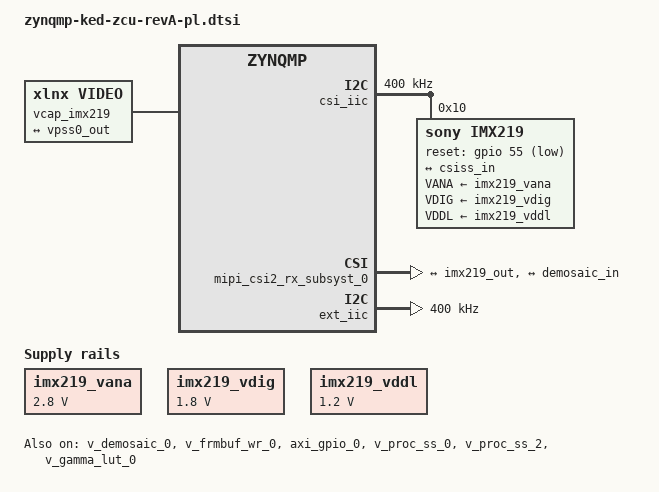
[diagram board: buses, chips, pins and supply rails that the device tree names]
/*
 * system-user.dtsi - IMX219 camera pipeline for Zynq UltraScale+
 *
 * Versione self-contained per PL:
 *   i nodi AXI/I2C/video sono dichiarati direttamente dentro &amba_pl,
 *   quindi non servono frammenti tipo &axi_gpio_0 / &v_demosaic_0 già definiti dal DTG.
 *
 * Hardware source:
 *   - system.mss
 *   - ZCU-DM-X1-R0(1).tcl, Vivado 2022.2
 *
 * Pipeline:
 *   IMX219 RAW10, 2 MIPI lanes
 *      -> MIPI CSI-2 RX Subsystem
 *      -> Sensor Demosaic
 *      -> VPSS CSC-only (white balance / brightness / contrast, dominio lineare)
 *      -> Gamma LUT (3x LUT R/G/B programmabili)
 *      -> VPSS Scaler+CSC (runtime: YUV422 1080p per display DP,
 *                           oppure RGB 640x640 per NPU DX-M1)
 *      -> Frame Buffer Write 0 -> DDR   (canale singolo, modo programmabile)
 *
 * Vivado addresses / IRQs:
 *   csi_iic                  @ 0x80010000, IRQ 92
 *   mipi_csi2_rx_subsyst_0   @ 0x80020000, IRQ 89
 *   v_demosaic_0             @ 0x80030000, IRQ 90
 *   v_frmbuf_wr_0            @ 0x80040000, IRQ 91
 *   ext_iic                  @ 0x80050000, IRQ 93
 *   v_gamma_lut_0            @ 0x80080000, IRQ 94
 *   axi_gpio_0               @ 0x80060000
 *   v_proc_ss_0              @ 0x80100000
 *   v_proc_ss_2              @ 0x80300000           (CSC only, white balance)
 *
 * Clocking from TCL:
 *   PL0 = zynqmp_clk 71 = 150 MHz, used for AXI-Lite and video clocks
 *   PL1 = zynqmp_clk 72 = 200 MHz, used in HW for MIPI D-PHY clock
 *
 * Reset GPIOs from TCL:
 *   axi_gpio_0 bit 0 -> v_demosaic_0 resetn combiner
 *   axi_gpio_0 bit 1 -> v_proc_ss_0 resetn combiner
 *   axi_gpio_0 bit 2 -> v_frmbuf_wr_0 resetn combiner
 *   axi_gpio_0 bit 3 -> mipi csi2 rx video_aresetn
 *   axi_gpio_0 bit 6 -> v_proc_ss_2 (CSC) resetn combiner
 *   axi_gpio_0 bit 7 -> v_gamma_lut_0 resetn combiner
 *
 * Hardware reset equation:
 *   ip_resetn = peripheral_aresetn AND gpio_resetn
 */

#include <dt-bindings/gpio/gpio.h>

/ {
	/* IMX219 external clock. Use 24 MHz unless the board has a different XCLK. */
	imx219_xclk: imx219-xclk {
		compatible = "fixed-clock";
		#clock-cells = <0>;
		clock-frequency = <24000000>;
	};

	/* Fixed regulators are valid if the camera rails are always enabled on the board. */
	imx219_vana: regulator-imx219-vana {
		compatible = "regulator-fixed";
		regulator-name = "imx219_vana_2v8";
		regulator-min-microvolt = <2800000>;
		regulator-max-microvolt = <2800000>;
	};

	imx219_vdig: regulator-imx219-vdig {
		compatible = "regulator-fixed";
		regulator-name = "imx219_vdig_1v8";
		regulator-min-microvolt = <1800000>;
		regulator-max-microvolt = <1800000>;
	};

	imx219_vddl: regulator-imx219-vddl {
		compatible = "regulator-fixed";
		regulator-name = "imx219_vddl_1v2";
		regulator-min-microvolt = <1200000>;
		regulator-max-microvolt = <1200000>;
	};
};

/ {
	amba_pl: amba_pl@0 {
		#address-cells = <2>;
		#size-cells = <2>;
		compatible = "simple-bus";
		ranges ;
				
		AXI_DNA_0: AXI_DNA@80000000 {
			/* This is a place holder node for a custom IP, user may need to update the entries */
			clock-names = "s00_axi_aclk";
			clocks = <&zynqmp_clk 71>;
			compatible = "xlnx,AXI-DNA-1.0";
			reg = <0x0 0x80000000 0x0 0x10000>;
			xlnx,s00-axi-addr-width = <0x4>;
			xlnx,s00-axi-data-width = <0x20>;
		};
		
		/* Camera control I2C bus: csi_iic @ 0x80010000, 400 kHz. */
		csi_iic: i2c@80010000 {
			status = "okay";
			compatible = "xlnx,axi-iic-2.1", "xlnx,xps-iic-2.00.a";
			reg = <0x0 0x80010000 0x0 0x10000>;
			interrupt-parent = <&gic>;
			interrupts = <0 92 4>;
			interrupt-names = "iic2intc_irpt";
			clock-names = "s_axi_aclk";
			clocks = <&zynqmp_clk 71>;
			#address-cells = <1>;
			#size-cells = <0>;
			clock-frequency = <400000>;

			imx219: camera@10 {
				compatible = "sony,imx219";
				reg = <0x10>;

				clocks = <&imx219_xclk>;

				VANA-supply = <&imx219_vana>;
				VDIG-supply = <&imx219_vdig>;
				VDDL-supply = <&imx219_vddl>;

				/*
				 * MIO55 controls the camera PWDN pin.
				 * For a standard active-high PWDN signal:
				 *   physical 1 = power-down / disabled
				 *   physical 0 = enabled
				 */
				reset-gpios = <&gpio 55 GPIO_ACTIVE_LOW>;
	
				port {
					imx219_out: endpoint {
						remote-endpoint = <&csiss_in>;
						data-lanes = <1 2>;
						clock-noncontinuous;
						link-frequencies = /bits/ 64 <456000000>;
					};
				};
			};
		};

		/* MIPI CSI-2 RX Subsystem.
		 * Vivado IP: v5.2, RAW10, 2 lanes, active lanes enabled, VFB enabled.
		 * Linux binding compatible commonly used for this IP generation is v5.0.
		 */
		mipi_csi2_rx_subsyst_0: csi2rx@80020000 {
			status = "okay";
			compatible = "xlnx,mipi-csi2-rx-subsystem-5.0";
			reg = <0x0 0x80020000 0x0 0x2000>;
			interrupt-parent = <&gic>;
			interrupts = <0 89 4>;
			interrupt-names = "csirxss_csi_irq";

			clock-names = "lite_aclk", "video_aclk";
			clocks = <&zynqmp_clk 71>, <&zynqmp_clk 71>;

			xlnx,csi-pxl-format = <0x2b>; /* RAW10 */
			xlnx,vfb;
			xlnx,en-active-lanes;

			ports {
				#address-cells = <1>;
				#size-cells = <0>;

				port@0 {
					reg = <0>;
					csiss_in: endpoint {
						remote-endpoint = <&imx219_out>;
						data-lanes = <1 2>;
					};
				};

				port@1 {
					reg = <1>;
					csiss_out: endpoint {
						remote-endpoint = <&demosaic_in>;
					};
				};
			};
		};

		/* Sensor Demosaic: Bayer RAW10 input to RGB output. */
		v_demosaic_0: demosaic@80030000 {
			status = "okay";
			compatible = "xlnx,v-demosaic-1.1", "xlnx,v-demosaic";
			reg = <0x0 0x80030000 0x0 0x10000>;
			clock-names = "ap_clk";
			clocks = <&zynqmp_clk 71>;
			interrupt-parent = <&gic>;
			interrupts = <0 90 4>;
			interrupt-names = "interrupt";

			reset-gpios = <&axi_gpio_0 0 GPIO_ACTIVE_LOW>;

			/* The TCL does not export max image size. Keep this coherent with 150 MHz / 1 PPC. */
			xlnx,max-width = <1920>;
			xlnx,max-height = <1080>;

			ports {
				#address-cells = <1>;
				#size-cells = <0>;

				port@0 {
					reg = <0>;
					demosaic_in: endpoint {
						remote-endpoint = <&csiss_out>;
					};
				};

				port@1 {
					reg = <1>;
					demosaic_out: endpoint {
						remote-endpoint = <&csc_in>;
					};
				};
			};
		};

		/* Video Frame Buffer Write.
		 * Vivado IP: v2.4. Linux compatible for this generation is axi-frmbuf-wr-v2.2.
		 * TCL: SAMPLES_PER_CLOCK=1, MAX_DATA_WIDTH=10.
		 */
		v_frmbuf_wr_0: dma@80040000 {
			status = "okay";
			compatible = "xlnx,axi-frmbuf-wr-v2.2";
			#dma-cells = <1>;
			reg = <0x0 0x80040000 0x0 0x10000>;
			clock-names = "ap_clk";
			clocks = <&zynqmp_clk 71>;
			interrupt-parent = <&gic>;
			interrupts = <0 91 4>;
			interrupt-names = "interrupt";

			reset-gpios = <&axi_gpio_0 2 GPIO_ACTIVE_LOW>;

			/* Il master AXI del frmbuf e' cablato (TCL: axi_smc/M00_AXI)
			 * su S_AXI_HPC0_FPD, cioe' la porta COERENTE via CCI-400.
			 * Senza questa proprieta' Linux tratta il device come non
			 * coerente e vb2-dma-contig alloca i buffer NON CACHEABLE:
			 * la CPU li legge a ~4 MB/s (misurato: videoconvert 3,5 fps
			 * contro 90 fps su memoria normale). Con dma-coherent i
			 * buffer diventano cacheable e la coerenza la garantisce CCI.
			 *
			 * ATTENZIONE: richiede che la coerenza sia realmente attiva
			 * in HW (CCI snooping abilitato + AxCACHE/AxDOMAIN corretti
			 * dal master). Se non lo fosse, la CPU leggerebbe dati stantii
			 * dalla cache -> immagine corrotta/tearing. Verificare.
			 */
			dma-coherent;

			xlnx,dma-addr-width = <32>;
			/* ATTENZIONE: nel driver xilinx_frmbuf.c i nomi DTS sono
			 * INVERTITI rispetto al fourcc V4L2 che espongono. Tabella
			 * (nome DTS -> CONFIG richiesto nel TCL -> fourcc V4L2):
			 *   "rgb888"      -> HAS_BGR8       -> BGR3
			 *   "bgr888"      -> HAS_RGB8       -> RGB3   (dxpreprocess)
			 *   "xrgb8888"    -> HAS_BGRX8      -> XBGR32
			 *   "xbgr8888"    -> HAS_RGBX8      -> BGRX32
			 *   "xbgr2101010" -> HAS_RGBX10     -> XBGR30
			 *   "uyvy"        -> HAS_UYVY8      -> UYVY
			 *   "yuyv"        -> HAS_YUYV8      -> YUYV
			 *   "vuy888"      -> HAS_YUV8       -> VUY24
			 *   "xvuy8888"    -> HAS_YUVX8      -> XVUY32
			 *   "nv16"        -> HAS_Y_UV8      -> NV16
			 *   "nv12"        -> HAS_Y_UV8_420  -> NV12
			 *   "xv20"        -> HAS_Y_UV10     -> XV20
			 *   "xv15"        -> HAS_Y_UV10_420 -> XV15
			 * Il driver NON valida contro l'IP: un nome dichiarato ma non
			 * implementato in hardware viene accettato e produce dati NON
			 * VALIDI (nessun errore). Questa lista deve restare allineata
			 * ai CONFIG.HAS_* del v_frmbuf_wr_0 nel TCL.
			 */
			xlnx,vid-formats = "rgb888", "bgr888",
					   "xrgb8888", "xbgr8888", "xbgr2101010",
					   "uyvy", "yuyv", "vuy888", "xvuy8888",
					   "nv16", "nv12", "xv20", "xv15";
			xlnx,pixels-per-clock = <1>;
			xlnx,dma-align = <8>;
			xlnx,max-width = <1920>;
			xlnx,max-height = <1080>;
		};

		/* Optional external I2C bus present in the TCL. Not part of the camera pipeline. */
		ext_iic: i2c@80050000 {
			status = "okay";
			compatible = "xlnx,axi-iic-2.1", "xlnx,xps-iic-2.00.a";
			reg = <0x0 0x80050000 0x0 0x10000>;
			interrupt-parent = <&gic>;
			interrupts = <0 93 4>;
			interrupt-names = "iic2intc_irpt";
			clock-names = "s_axi_aclk";
			clocks = <&zynqmp_clk 71>;
			#address-cells = <1>;
			#size-cells = <0>;
			clock-frequency = <400000>;
		};

		/* AXI GPIO used by Linux as reset controller for the video IPs.
		 * Vivado: C_GPIO_WIDTH=8, C_ALL_OUTPUTS=1, C_DOUT_DEFAULT=0xffffffff.
		 */
		axi_gpio_0: gpio@80060000 {
			status = "okay";
			compatible = "xlnx,xps-gpio-1.00.a";
			reg = <0x0 0x80060000 0x0 0x10000>;
			clocks = <&zynqmp_clk 71>;

			gpio-controller;
			#gpio-cells = <2>;

			xlnx,gpio-width = <8>;
			xlnx,all-inputs = <0x0>;
			xlnx,all-outputs = <0xff>;
			xlnx,dout-default = <0xff>;
			xlnx,tri-default = <0x0>;
			xlnx,is-dual = <0>;

			gpio-line-names =
				"demosaic_resetn",
				"vpss0_resetn",
				"frmbuf_wr0_resetn",
				"csi_video_resetn",
				"video_reset_unused4",
				"video_reset_unused5",
				"csc_resetn",
				"gamma_resetn";
		};

		/* VPSS Scaler, streaming-only, no internal DMA.
		 * TCL: C_SAMPLES_PER_CLK=1, C_SCALER_ALGORITHM=2 polyphase.
		 */
		v_proc_ss_0: vpss@80100000 {
			status = "okay";
			compatible = "xlnx,v-vpss-scaler-2.2", "xlnx,v-vpss-scaler";
			reg = <0x0 0x80100000 0x0 0x100000>;

			clock-names = "aclk_axis", "aclk_ctrl";
			clocks = <&zynqmp_clk 71>, <&zynqmp_clk 71>;

			reset-gpios = <&axi_gpio_0 1 GPIO_ACTIVE_LOW>;

			/* The TCL does not export max image size. Keep this coherent with 150 MHz / 1 PPC. */
			xlnx,max-width = <1920>;
			xlnx,max-height = <1080>;
			xlnx,num-hori-taps = <8>;
			xlnx,num-vert-taps = <8>;
			xlnx,pix-per-clk = <1>;

			ports {
				#address-cells = <1>;
				#size-cells = <0>;

				port@0 {
					reg = <0>;
					xlnx,video-format = <0>; /* RGB */
					xlnx,video-width = <10>;
					vpss0_in: endpoint {
						remote-endpoint = <&gamma_out>;
					};
				};

				port@1 {
					reg = <1>;
					/* modo display: YUV422 1080p; modo NPU: riconfigurata a
					 * runtime in RGB 640x640 via media-ctl (v. setup_pipeline.sh)
					 */
					xlnx,video-format = <2>; /* default: YUV 4:2:2 */
					xlnx,video-width = <8>;
					vpss0_out: endpoint {
						remote-endpoint = <&vcap_imx219_in0>;
					};
				};
			};
		};

		/* VPSS CSC-only: white balance (red/green/blue gain), brightness, contrast.
		 * Applicato in dominio lineare, prima della gamma. Controlli V4L2 sul subdev.
		 */
		v_proc_ss_2: csc@80300000 {
			status = "okay";
			compatible = "xlnx,v-vpss-csc";
			reg = <0x0 0x80300000 0x0 0x100000>;

			clocks = <&zynqmp_clk 71>;
			clock-names = "aclk";

			reset-gpios = <&axi_gpio_0 6 GPIO_ACTIVE_LOW>;

			xlnx,max-width = <1920>;
			xlnx,max-height = <1080>;

			ports {
				#address-cells = <1>;
				#size-cells = <0>;

				port@0 {
					reg = <0>;
					xlnx,video-format = <0>; /* RGB */
					xlnx,video-width = <10>;
					csc_in: endpoint {
						remote-endpoint = <&demosaic_out>;
					};
				};

				port@1 {
					reg = <1>;
					xlnx,video-format = <0>; /* RGB */
					xlnx,video-width = <10>;
					csc_out: endpoint {
						remote-endpoint = <&gamma_in>;
					};
				};
			};
		};

		/* Gamma LUT: tre LUT indipendenti R/G/B, 10 bit (1024 entry per canale). */
		v_gamma_lut_0: gamma@80080000 {
			status = "okay";
			compatible = "xlnx,v-gamma-lut";
			reg = <0x0 0x80080000 0x0 0x10000>;
			clocks = <&zynqmp_clk 71>;
			clock-names = "ap_clk";
			interrupt-parent = <&gic>;
			interrupts = <0 94 4>;
			interrupt-names = "interrupt";

			reset-gpios = <&axi_gpio_0 7 GPIO_ACTIVE_LOW>;

			xlnx,max-width = <1920>;
			xlnx,max-height = <1080>;

			ports {
				#address-cells = <1>;
				#size-cells = <0>;

				port@0 {
					reg = <0>;
					xlnx,video-format = <0>; /* RGB */
					xlnx,video-width = <10>;
					gamma_in: endpoint {
						remote-endpoint = <&csc_out>;
					};
				};

				port@1 {
					reg = <1>;
					xlnx,video-format = <0>; /* RGB */
					xlnx,video-width = <10>;
					gamma_out: endpoint {
						remote-endpoint = <&vpss0_in>;
					};
				};
			};
		};

		/* Xilinx V4L2 capture: canale singolo (/dev/video0); il formato di
		 * uscita si sceglie a runtime riconfigurando la VPSS (YUV o RGB).
		 */
		vcap_imx219: vcap-imx219 {
			compatible = "xlnx,video";
			dmas = <&v_frmbuf_wr_0 0>;
			dma-names = "port0";

			/* I buffer V4L2 li alloca vb2-dma-contig usando QUESTO
			 * device: xilinx-dma.c fa "dma->queue.dev = dma->xdev->dev",
			 * cioe' il composite vcap, non il nodo del frmbuf. Quindi
			 * e' qui che dma-coherent decide se i buffer sono cacheable.
			 * Il DMA reale lo fa il frmbuf, cablato su S_AXI_HPC0_FPD
			 * (porta coerente via CCI-400), quindi la coerenza HW c'e'.
			 * Senza questa riga i buffer sono uncached e la CPU li legge
			 * a ~4 MB/s (videoconvert 3,5 fps contro 90 su memoria normale).
			 */
			dma-coherent;

			ports {
				#address-cells = <1>;
				#size-cells = <0>;

				port@0 {
					reg = <0>;
					direction = "input";
					vcap_imx219_in0: endpoint {
						remote-endpoint = <&vpss0_out>;
					};
				};
			};
		};
	};

};


